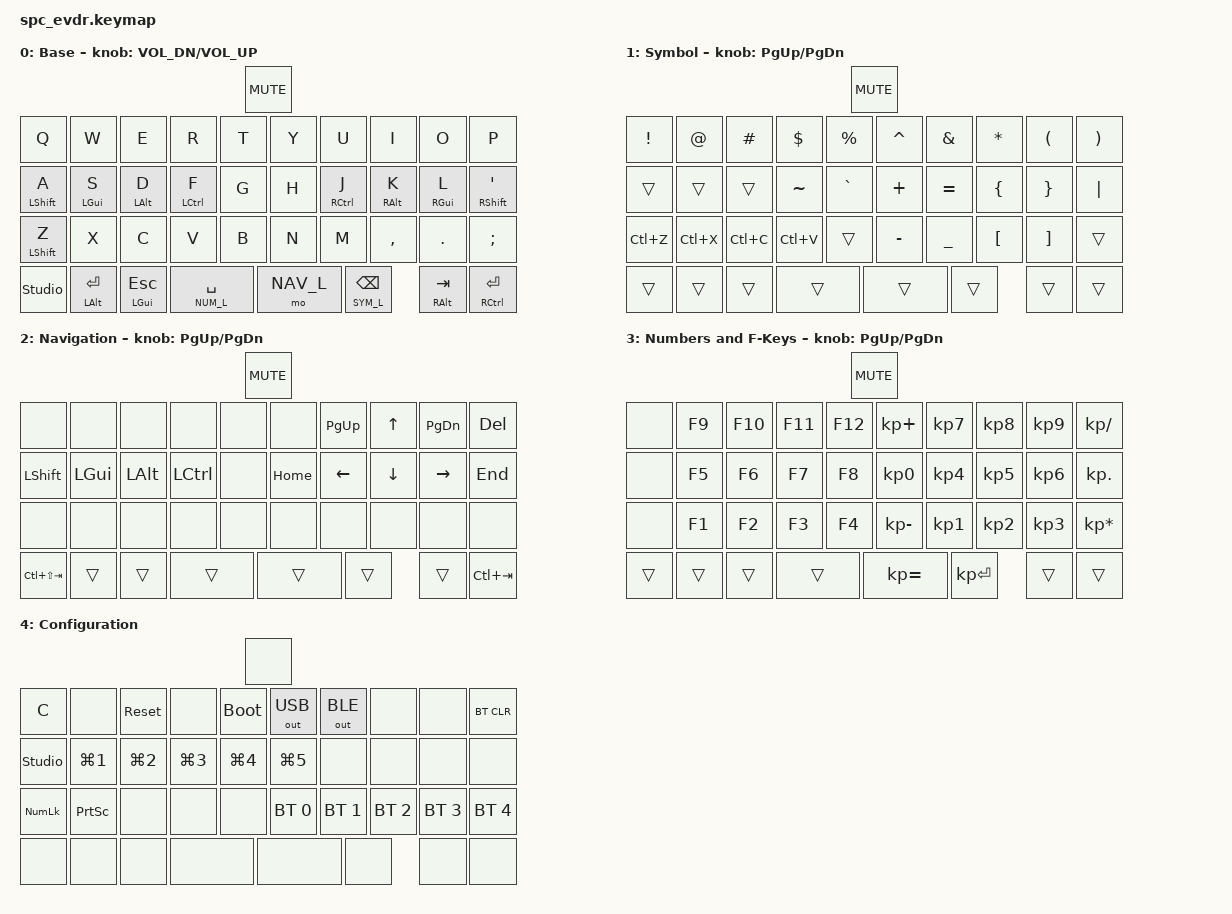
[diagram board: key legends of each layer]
/*
 * Copyright (c) 2022 weteor
 *
 * SPDX-License-Identifier: MIT
 */

#include <behaviors.dtsi>
#include <dt-bindings/zmk/keys.h>
#include <dt-bindings/zmk/bt.h>
#include <dt-bindings/zmk/outputs.h>

#define BAS_L 0
#define SYM_L 2
#define NAV_L 3
#define NUM_L 4
#define CFG_L 5

// repeating space/backspace
&lt { quick_tap_ms = <200>; };

/ {
    combos {
        compatible = "zmk,combos";

        combo_slash {
            timeout-ms = <50>;
            key-positions = <1 11>;
            layers = <BAS_L>;
            bindings = <&kp SLASH>;
            };
        combo_lBracket {
            timeout-ms = <50>;
            key-positions = <2 12>;
            layers = <BAS_L>;
            bindings = <&kp LEFT_BRACKET>;
            };
        combo_lBrace {
            timeout-ms = <50>;
            key-positions = <3 13>;
            layers = <BAS_L>;
            bindings = <&kp LEFT_BRACE>;
            };
        combo_lParanthesis {
            timeout-ms = <50>;
            key-positions = <4 14>;
            layers = <BAS_L>;
            bindings = <&kp LEFT_PARENTHESIS>;
            };
        combo_equal {
            timeout-ms = <50>;
            key-positions = <5 15>;
            layers = <BAS_L>;
            bindings = <&kp EQUAL>;
            };

        combo_asterix {
            timeout-ms = <50>;
            key-positions = <6 16>;
            layers = <BAS_L>;
            bindings = <&kp ASTERISK>;
            };

        combo_rParanthesis {
            timeout-ms = <50>;
            key-positions = <7 17>;
            layers = <BAS_L>;
            bindings = <&kp RIGHT_PARENTHESIS>;
            };
        combo_rBrace {
            timeout-ms = <50>;
            key-positions = <8 18>;
            layers = <BAS_L>;
            bindings = <&kp RIGHT_BRACE>;
            };
        combo_rBracket {
            timeout-ms = <50>;
            key-positions = <9 19>;
            layers = <BAS_L>;
            bindings = <&kp RIGHT_BRACKET>;
            };
        combo_bSlash {
            timeout-ms = <50>;
            key-positions = <10 20>;
            layers = <BAS_L>;
            bindings = <&kp BACKSLASH>;
            };

        combo_tab {
            timeout-ms = <50>;
            key-positions = <1 2>;
            bindings = <&kp TAB>;
            };
        combo_backspace {
            timeout-ms = <50>;
            key-positions = <8 9>;
            bindings = <&kp BACKSPACE>;
            };
        combo_esc {
            timeout-ms = <50>;
            key-positions = <11 12>;
            bindings = <&kp ESCAPE>;
            };

        combo_cfgLayer {
            timeout-ms = <250>;
            key-positions = <31 32>;
            bindings = <&mo CFG_L>;
            };

        combo_capsWord {
            timeout-ms = <50>;
            key-positions = <23 29>;
            bindings = <&caps_word>;
            };

    };

    behaviors {
        hm: homerow_mods {
            compatible = "zmk,behavior-hold-tap";
            label = "homerow mods";
            #binding-cells = <2>;
            tapping_term_ms = <180>;
            flavor = "tap-preferred";
            bindings = <&kp>, <&kp>;
        };
    };

    
// COMBOS
// vertical
// -------------------------------     -------------------------------
// |  Q  |  W  |  E  |  R  |  T  |     |  Y  |  U  |  I  |  O  |  P  | 
// |  /  |  [  |  {  |  (  |  =  |     |  *  |  )  |  }  |  ]  |  \  |  
// |  A  |  S  |  D  |  F  |  G  |     |  H  |  J  |  K  |  L  |  '  | 
//
// others:
// Q + W - tab
// A + S - escape
// I + O - backspace
// C + , - word caps
// both left bottom keys -> Layer CFG
// Z hold - shift

    keymap {
        compatible = "zmk,keymap";

        default_layer {
            label = " Base";
// -------------------------------     -------------------------------
// |  Q  |  W  |  E  |  R  |  T  |  Y  |  U  |  I  |  O  |  P  | 
// |A sft|S win|D alt|F ctl|  G  |  H  |J ctl|K alt|L win|' sft| 
// |Z sft|  X  |  C  |  V  |  B  |  N  |  M  |  ,  |  .  |  ;  |
// |ctl/T|alt/E|xxxxx|gui/E| Spc/|Bspc/| Nav |xxxxx|alt/T|ctl/E|
//        Tab   Ret         Esc    Num    Sym
// -------------------------------     -------------------------------
            bindings = <
                &kp C_MUTE
                &kp Q       &kp W       &kp E       &kp R       &kp T     &kp Y       &kp U       &kp I       &kp O       &kp P
                &hm LSHFT A &hm LGUI S  &hm LALT D  &hm LCTRL F &kp G     &kp H       &hm RCTRL J &hm RALT K  &hm RGUI L  &hm RSHFT QUOT
                &hm LSHFT Z &kp X       &kp C       &kp V       &kp B     &kp N       &kp M       &kp COMMA   &kp DOT     &kp SEMI
                &studio_unlock &mt LALT RET       &mt LGUI ESC &lt NUM_L SPACE   &mo NAV_L     &lt SYM_L BSPC              &mt RALT TAB       &mt RCTRL RET
            >;
            sensor-bindings = <&inc_dec_kp C_VOL_DN C_VOL_UP>;
        };
        
        sym_layer {
            label = " Symbol";
// -------------------------------     -------------------------------
// |  !  |  @  |  #  |  $  |  %  |  ^  |  &  |  *  |  (  |  )  |
// |     |     |     |  ~  |  `  |  +  |  =  |  {  |  }  |  |  |
// |Undo |Cut  |Copy |Paste|     |  -  |  _  |  [  |  ]  |     |
// |     |     |xxxxx|     |     |     |     |xxxxx|     |     |
// -------------------------------     -------------------------------
            bindings = <
                &kp C_MUTE
                &kp EXCL    &kp AT      &kp HASH    &kp DOLLAR  &kp PERCENT             &kp CARET   &kp AMPS    &kp ASTRK   &kp LPAR    &kp RPAR
                &trans      &trans      &trans      &kp TILDE   &kp GRAVE               &kp PLUS    &kp EQUAL   &kp LBRC    &kp RBRC    &kp PIPE
                &kp LC(Z)   &kp LC(X)   &kp LC(C)   &kp LC(V)   &trans                  &kp MINUS   &kp UNDER   &kp LBKT    &kp RBKT    &trans
                &trans      &trans                  &trans      &trans                  &trans      &trans                  &trans      &trans
            >;
            sensor-bindings = <&inc_dec_kp PG_UP PG_DN>;
        };
        
        nav_layer {
            label = " Navigation";
// -------------------------------     -------------------------------
// |     |     |     |     |     |  -  |     |pg dn| up  |pg up| del | 
// | sft | gui | alt | ctrl|     |     |home |left |down |right| end | 
// |     |     |     |     |     |  -  |     |prev | play|stop | next| 
// |     |     |xxxxx|     |     |     |     |     |xxxxx|     |     |
// C-Tab / C-S-Tab on the outer thumb keys (browser/editor tab cycling)
// -------------------------------     -------------------------------
            bindings = <
                &kp C_MUTE
                &none       &none       &none       &none       &none                   &none       &kp PG_UP   &kp UP      &kp PG_DN   &kp DEL
                &kp LSHFT   &kp LGUI    &kp LALT    &kp LCTRL   &none                   &kp HOME    &kp LEFT    &kp DOWN    &kp RIGHT   &kp END
                &none       &none       &none       &none       &none                   &none       &none       &none       &none       &none
                &kp LC(LS(TAB)) &trans              &trans      &trans                  &trans      &trans                  &trans      &kp LC(TAB)
            >;
            sensor-bindings = <&inc_dec_kp PG_UP PG_DN>;
        };

        num_layer {
            label = " Numbers and F-Keys";
// -------------------------------     -------------------------------
// |     |  F9 | F10 | F11 | F12 |  -  |  +  | num7| num8| num9|  /  | 
// |     |  F5 |  F6 |  F7 |  F8 |     |  0  | num4| num5| num6|  .  | 
// |     |  F1 |  F2 |  F3 |  F4 |  -  |  -  | num1| num2| num3|  *  | 
// |     |     |xxxxx|     |     |     |  =  | ent |xxxxx|     |     |
// -------------------------------     -------------------------------
            bindings = <
                &kp C_MUTE 
                &none       &kp F9      &kp F10     &kp F11     &kp F12                 &kp KP_PLUS &kp KP_N7   &kp KP_N8   &kp KP_N9   &kp KP_SLASH 
                &none       &kp F5      &kp F6      &kp F7      &kp F8                  &kp KP_N0   &kp KP_N4   &kp KP_N5   &kp KP_N6   &kp KP_DOT
                &none       &kp F1      &kp F2      &kp F3      &kp F4                  &kp KP_MINUS &kp KP_N1  &kp KP_N2   &kp KP_N3   &kp KP_MULTIPLY
                &trans      &trans                  &trans      &trans                  &kp KP_EQUAL &kp KP_ENTER           &trans      &trans
            >;
            sensor-bindings = <&inc_dec_kp PG_UP PG_DN>;
        };
        
        cfg_layer {
            label = " Configuration";
// -------------------------------     -------------------------------
// |     |     |     |     |     |  -  | USB | BLE |     |     |BTCLR|
// |Studio|WS1 | WS2 | WS3 | WS4 |  -  | WS5 |     |     |     |     |
// |numlk|PSCRN|     |     |     |  -  | BT0 | BT1 | BT2 | BT3 | BT4 |
// |     |     |xxxxx|     |     |     |     |     |xxxxx|     |     |
// -------------------------------     -------------------------------
            bindings = <
                &none
                &kp C       &none       &sys_reset   &none         &bootloader               &out OUT_USB &out OUT_BLE &none        &none        &bt BT_CLR
                &studio_unlock &kp LG(N1) &kp LG(N2) &kp LG(N3)    &kp LG(N4)              &kp LG(N5)   &none        &none        &none        &none
                &kp KP_NUM  &kp PSCRN   &none        &none         &none                   &bt BT_SEL 0 &bt BT_SEL 1 &bt BT_SEL 2 &bt BT_SEL 3 &bt BT_SEL 4
                &none       &none                    &none         &none                   &none        &none                     &none        &none
            >;
        };
    };
};


